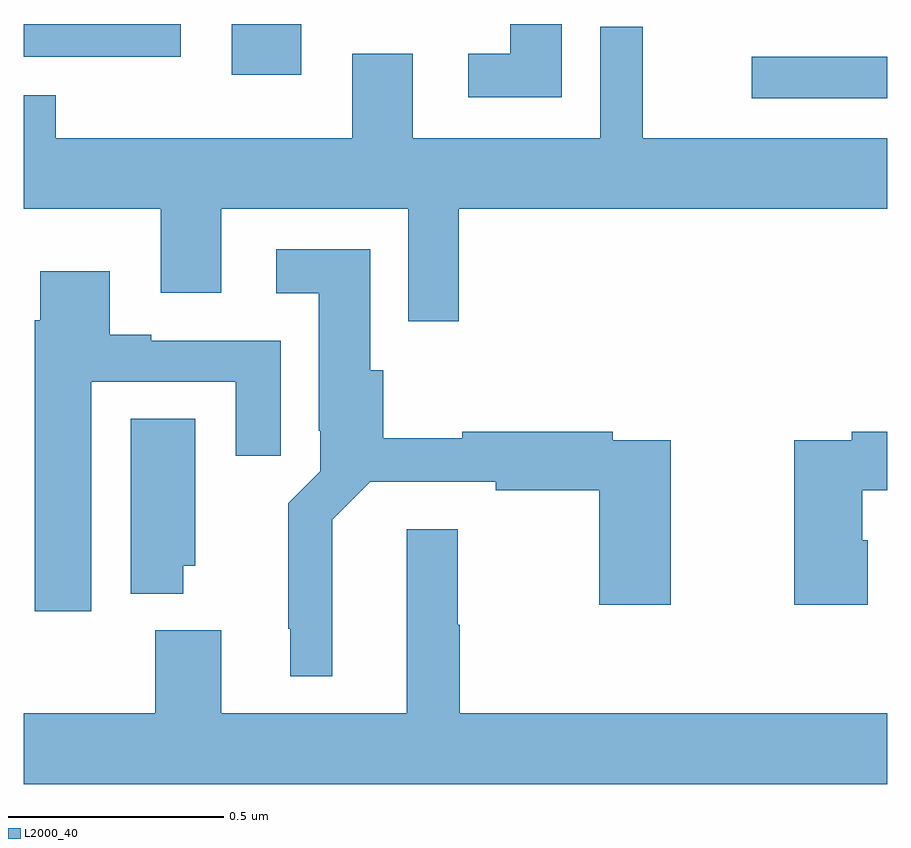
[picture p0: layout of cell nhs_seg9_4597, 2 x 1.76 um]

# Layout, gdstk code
import gdstk
lib = gdstk.Library(unit=1e-6, precision=1e-09)
def R(c, l, rs):  # rectangles x0, y0, x1, y1
    for r in rs: c.add(gdstk.rectangle(r[:2], r[2:], *l))
def P(c, l, *ps):  # polygons
    for p in ps: c.add(gdstk.Polygon(p, *l))
L2000_40 = (2000, 40)

nhs_seg9_4597 = lib.new_cell('nhs_seg9_4597')
R(nhs_seg9_4597, L2000_40, [(169.686,1211.328,170,1211.424), (168.482,1211.382,168.643,1211.5), (168,1211.424,168.364,1211.5)])
P(nhs_seg9_4597, L2000_40, [(169.246,1211.5),(169.127,1211.5),(169.127,1211.431),(169.029,1211.431),(169.029,1211.33),(169.246,1211.33)],
  [(169.007,1211.072),(170,1211.072),(170,1211.236),(169.434,1211.236),(169.434,1211.494),(169.335,1211.494),(169.335,1211.236),(168.901,1211.236),(168.901,1211.431),(168.761,1211.431),(168.761,1211.236),(168.074,1211.236),(168.074,1211.335),(168,1211.335),(168,1211.072),(168.317,1211.072),(168.317,1210.878),(168.457,1210.878),(168.457,1211.072),(168.891,1211.072),(168.891,1210.812),(169.007,1210.812)],
  [(168.715,1210.352),(168.802,1210.44),(169.093,1210.44),(169.093,1210.42),(169.333,1210.42),(169.333,1210.155),(169.498,1210.155),(169.498,1210.536),(169.364,1210.536),(169.364,1210.556),(169.016,1210.556),(169.016,1210.541),(168.833,1210.541),(168.833,1210.698),(168.802,1210.698),(168.802,1210.978),(168.585,1210.978),(168.585,1210.877),(168.683,1210.877),(168.683,1210.558),(168.687,1210.558),(168.687,1210.464),(168.613,1210.39),(168.613,1210.099),(168.617,1210.099),(168.617,1209.989),(168.715,1209.989)],
  [(168.157,1210.671),(168.491,1210.671),(168.491,1210.5),(168.595,1210.5),(168.595,1210.767),(168.295,1210.767),(168.295,1210.78),(168.199,1210.78),(168.199,1210.927),(168.038,1210.927),(168.038,1210.814),(168.026,1210.814),(168.026,1210.14),(168.157,1210.14)],
  [(168.37,1210.245),(168.397,1210.245),(168.397,1210.586),(168.248,1210.586),(168.248,1210.181),(168.37,1210.181)],
  [(169.955,1210.305),(169.942,1210.305),(169.942,1210.42),(170,1210.42),(170,1210.556),(169.918,1210.556),(169.918,1210.536),(169.784,1210.536),(169.784,1210.155),(169.955,1210.155)],
  [(170,1209.904),(169.01,1209.904),(169.01,1210.109),(169.005,1210.109),(169.005,1210.33),(168.887,1210.33),(168.887,1209.904),(168.457,1209.904),(168.457,1210.096),(168.305,1210.096),(168.305,1209.904),(168,1209.904),(168,1209.74),(170,1209.74)])

lib.write_gds('nhs_seg9_4597.gds')
